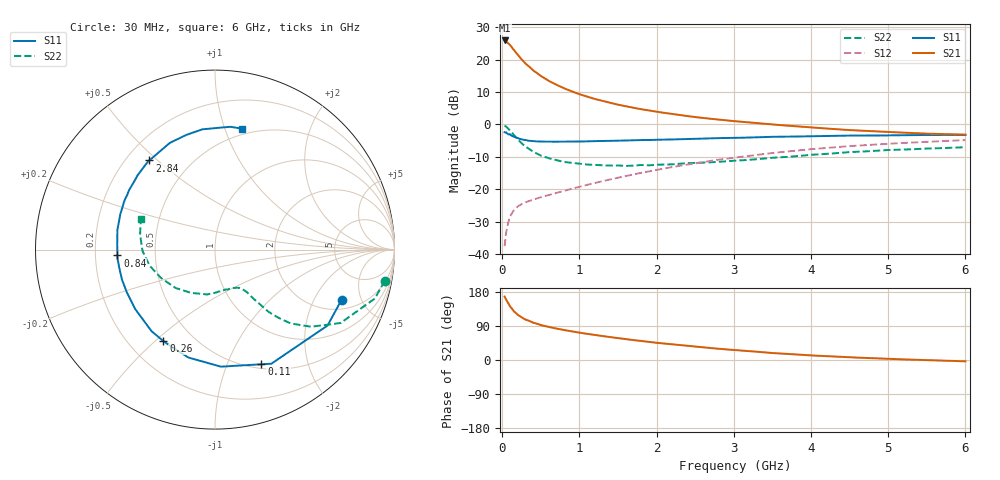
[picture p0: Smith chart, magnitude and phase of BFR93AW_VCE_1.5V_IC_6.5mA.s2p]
! Infineon Technologies  Discrete & RF Semiconductors
! BFR93AW
! VCE =  1.5 V,  IC =  6.5 mA
! Common Emitter S-Parameters:  Nov 2015
# GHz  S  MA  R  50
!  f  S11  S21  S12  S22
! GHz  MAG  ANG  MAG  ANG  MAG  ANG  MAG  ANG
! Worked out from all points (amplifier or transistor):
!   206 points, 30 MHz to 6 GHz, reference 50 ohm
!   highest |S21| = 25.9 dB at 30 MHz (marker M1)
!   |S21| within 3 dB of that: start of sweep to 152.1 MHz
!   unconditionally stable (mu >= 1): 846.6 MHz to 2.539 GHz
!   at 200 MHz: K = 0.37, MSG = 23.4 dB, |S12| = -25.3 dB
!   at 1.56 GHz: K = 1.10, MAG = 9.1 dB, |S12| = -16.1 dB
!   at 6 GHz: K = 0.97, MSG = 0.8 dB, |S12| = -4.8 dB
!   S11 on the Smith chart (normalised r, x): 30 MHz: 2.58, -3.39; 110 MHz: 0.55, -1.33; 260 MHz: 0.34, -0.53; 840 MHz: 0.29, -0.03; 2.84 GHz: 0.29, +0.47; 6 GHz: 0.45, +1.15
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0.03  0.7587 -21.6  19.73 167.3  0.0133 77.9  0.9618 -10.4
0.05  0.7564 -34.0  19.28 158.8  0.0216 73.1  0.931 -17.1
0.1  0.7091 -63.7  16.84 141.5  0.0382 61.3  0.8107 -30.3
0.11  0.6891 -68.0  16.22 139.2  0.04 59.4  0.7845 -31.8
0.15  0.653 -87.1  14.07 128.4  0.0478 53.2  0.6857 -38.8
0.2  0.6194 -103.8  11.85 119.2  0.0545 48.6  0.5891 -44.3
0.24  0.5928 -114.5  10.42 113.7  0.0582 46.7  0.5269 -46.7
0.26  0.5853 -119.4  9.804 111.1  0.0599 46.2  0.5005 -47.7
0.3  0.5758 -127.9  8.732 106.7  0.0631 45.6  0.4569 -49.3
0.4  0.5544 -143.4  6.814 98.5  0.0695 45.6  0.3791 -51.1
0.5  0.5459 -154.4  5.587 92.2  0.0756 46.7  0.3309 -52.3
0.6  0.5445 -162.2  4.715 87.3  0.0816 48.8  0.3016 -52.9
0.7  0.543 -169.1  4.097 82.9  0.0878 50.3  0.2817 -54.1
0.84  0.5447 -176.6  3.455 77.7  0.0978 53.1  0.2607 -56.2
1.04  0.5468 174.6  2.827 70.9  0.1128 55.8  0.2451 -60.1
1.48  0.5626 159.9  2.043 58.2  0.1494 59.3  0.2331 -71.9
2.02  0.5824 145.0  1.557 45.0  0.2012 59.8  0.2399 -88.9
2.84  0.6168 126.4  1.177 29.0  0.2904 55.6  0.2672 -114.3
3.1  0.6244 120.8  1.1 24.9  0.318 53.4  0.2797 -122.5
4.1  0.6609 102.3  0.882 11.2  0.4251 42.7  0.3457 -155.4
5.1  0.6798 87.9  0.757 2.3  0.5121 30.8  0.4068 178.5
6  0.6906 77.3  0.697 -3.5  0.5744 20.6  0.4465 157.9
